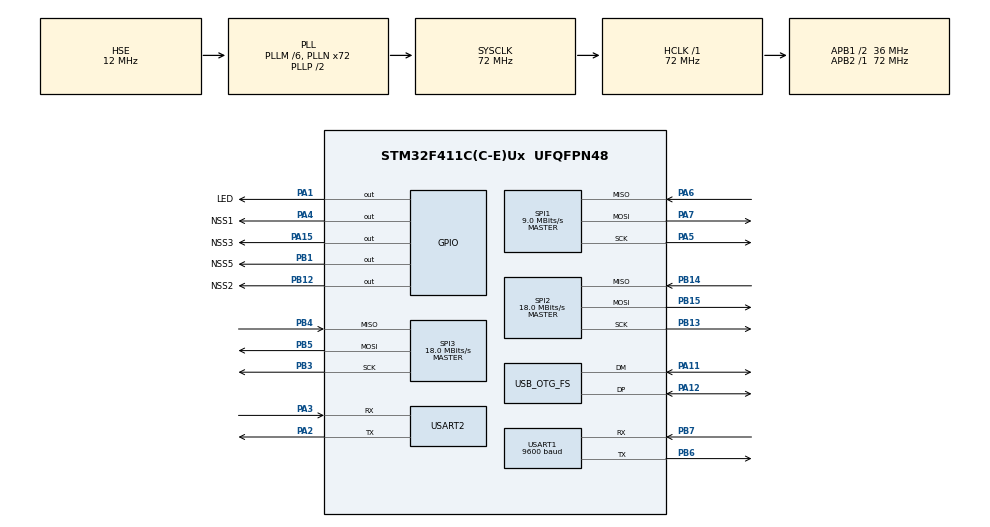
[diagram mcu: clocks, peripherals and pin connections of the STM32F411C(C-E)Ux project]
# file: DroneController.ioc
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Mcu.Family=STM32F4
Mcu.Name=STM32F411C(C-E)Ux
Mcu.Package=UFQFPN48
NVIC.OTG_FS_IRQn=true\:0\:0\:false\:false\:true\:false\:true\:true
NVIC.PriorityGroup=NVIC_PRIORITYGROUP_4
NVIC.USART1_IRQn=true\:0\:0\:false\:false\:true\:true\:true\:true
PA1.GPIO_Label=LED
PA1.Signal=GPIO_Output
PA11.Mode=Device_Only
PA11.Signal=USB_OTG_FS_DM
PA12.Mode=Device_Only
PA12.Signal=USB_OTG_FS_DP
PA13.Mode=Serial_Wire
PA13.Signal=SYS_JTMS-SWDIO
PA14.Mode=Serial_Wire
PA14.Signal=SYS_JTCK-SWCLK
PA15.GPIO_Label=NSS3
PA15.Signal=GPIO_Output
PA2.Mode=Asynchronous
PA2.Signal=USART2_TX
PA3.Mode=Asynchronous
PA3.Signal=USART2_RX
PA4.GPIO_Label=NSS1
PA4.Signal=GPIO_Output
PA5.Mode=Full_Duplex_Master
PA5.Signal=SPI1_SCK
PA6.Mode=Full_Duplex_Master
PA6.Signal=SPI1_MISO
PA7.Mode=Full_Duplex_Master
PA7.Signal=SPI1_MOSI
PB1.GPIO_Label=NSS5
PB1.Signal=GPIO_Output
PB12.GPIO_Label=NSS2
PB12.Signal=GPIO_Output
PB13.Mode=Full_Duplex_Master
PB13.Signal=SPI2_SCK
PB14.Mode=Full_Duplex_Master
PB14.Signal=SPI2_MISO
PB15.Mode=Full_Duplex_Master
PB15.Signal=SPI2_MOSI
PB3.Mode=Full_Duplex_Master
PB3.Signal=SPI3_SCK
PB4.Mode=Full_Duplex_Master
PB4.Signal=SPI3_MISO
PB5.Mode=Full_Duplex_Master
PB5.Signal=SPI3_MOSI
PB6.Mode=Asynchronous
PB6.Signal=USART1_TX
PB7.Mode=Asynchronous
PB7.Signal=USART1_RX
PH0\ -\ OSC_IN.Mode=HSE-External-Oscillator
PH0\ -\ OSC_IN.Signal=RCC_OSC_IN
PH1\ -\ OSC_OUT.Mode=HSE-External-Oscillator
PH1\ -\ OSC_OUT.Signal=RCC_OSC_OUT
ProjectManager.HeapSize=0x200
ProjectManager.StackSize=0x400
ProjectManager.TargetToolchain=STM32CubeIDE
RCC.48MHZClocksFreq_Value=48000000
RCC.AHBFreq_Value=72000000
RCC.APB1CLKDivider=RCC_HCLK_DIV2
RCC.APB1Freq_Value=36000000
RCC.APB1TimFreq_Value=72000000
RCC.APB2Freq_Value=72000000
RCC.APB2TimFreq_Value=72000000
RCC.CortexFreq_Value=72000000
RCC.HCLKFreq_Value=72000000
RCC.HSE_VALUE=12000000
RCC.HSI_VALUE=16000000
RCC.LSE_VALUE=32768
RCC.PLLM=6
RCC.PLLN=72
RCC.PLLQ=3
RCC.SYSCLKFreq_VALUE=72000000
RCC.SYSCLKSource=RCC_SYSCLKSOURCE_PLLCLK
RCC.VCOOutputFreq_Value=144000000
SPI1.BaudRatePrescaler=SPI_BAUDRATEPRESCALER_8
SPI1.CalculateBaudRate=9.0 MBits/s
SPI1.Direction=SPI_DIRECTION_2LINES
SPI1.Mode=SPI_MODE_MASTER
SPI1.VirtualType=VM_MASTER
SPI2.BaudRatePrescaler=SPI_BAUDRATEPRESCALER_2
SPI2.CalculateBaudRate=18.0 MBits/s
SPI2.Direction=SPI_DIRECTION_2LINES
SPI2.Mode=SPI_MODE_MASTER
SPI2.VirtualType=VM_MASTER
SPI3.BaudRatePrescaler=SPI_BAUDRATEPRESCALER_2
SPI3.CalculateBaudRate=18.0 MBits/s
SPI3.Direction=SPI_DIRECTION_2LINES
SPI3.Mode=SPI_MODE_MASTER
SPI3.VirtualType=VM_MASTER
USART1.BaudRate=9600
USART1.VirtualMode=VM_ASYNC
USART2.VirtualMode=VM_ASYNC
USB_DEVICE.CLASS_NAME_FS=CDC
USB_DEVICE.VirtualMode=Cdc
USB_DEVICE.VirtualModeFS=Cdc_FS
USB_OTG_FS.VirtualMode=Device_Only
VP_USB_DEVICE_VS_USB_DEVICE_CDC_FS.Mode=CDC_FS
board=custom

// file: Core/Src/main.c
/* USER CODE BEGIN Header */
/**
  ******************************************************************************
  * @file           : main.c
  * @brief          : Main program body
  ******************************************************************************
  */
/* USER CODE END Header */
#include "main.h"
#include "usb_device.h"

/* USER CODE BEGIN Includes */
#include "ICM-42605.h"
#include "BMP280.h"
#include "GPS.h"
#include <stdio.h>
#include <string.h>
#include <math.h>

#define SEA_LEVEL_PA     101325.0f

// Simple GPS test variables
volatile uint32_t uart_rx_count = 0;
volatile uint8_t last_byte = 0;

// --- IMU calibration settings ---
#define IMU_CAL_SAMPLES     512    // number of samples to average
#define IMU_CAL_SETTLE_MS   200    // small settle before sampling
#define EMA_ALPHA           0.12f  // optional smoothing (0..1). Lower = smoother

// Biases stored in RAW COUNTS (not m/s² or dps)
static float acc_bias_counts[3] = {0};
static float gyr_bias_counts[3] = {0};

// Optional EMA filtered values (in 'g' and dps)
static float ax_g_f=0, ay_g_f=0, az_g_f=0;
static float gx_dps_f=0, gy_dps_f=0, gz_dps_f=0;

/* USER CODE END Includes */

SPI_HandleTypeDef hspi1;
SPI_HandleTypeDef hspi2;
SPI_HandleTypeDef hspi3;

UART_HandleTypeDef huart1;
UART_HandleTypeDef huart2;

/* USER CODE BEGIN PV */
#define BMP280_CS_GPIO   GPIOA
#define BMP280_CS_PIN    NSS3_Pin

static BMP280_HandleTypeDef bmp;
/* USER CODE END PV */

void SystemClock_Config(void);
static void MX_GPIO_Init(void);
static void MX_SPI1_Init(void);
static void MX_SPI2_Init(void);
static void MX_SPI3_Init(void);
static void MX_USART2_UART_Init(void);
static void MX_USART1_UART_Init(void);
/* USER CODE BEGIN PFP */
static void BMP280_AppInit(void);
/* USER CODE END PFP */

/* USER CODE BEGIN 0 */
static void IMU_Calibrate(void)
{
    // Hold the board still, Z+ pointing up
    HAL_Delay(IMU_CAL_SETTLE_MS);

    int64_t sax = 0, say = 0, saz = 0;
    int64_t sgx = 0, sgy = 0, sgz = 0;
    int16_t a[3], g[3];

    for (int i = 0; i < IMU_CAL_SAMPLES; i++) {
        if (icm42605_read_accel(a) == HAL_OK) {
            sax += a[0]; say += a[1]; saz += a[2];
        }
        if (icm42605_read_gyro(g) == HAL_OK) {
            sgx += g[0]; sgy += g[1]; sgz += g[2];
        }
        HAL_Delay(2); // ~500 Hz sampling during calibration
    }

    const float invN = 1.0f / (float)IMU_CAL_SAMPLES;
    const float mean_ax = (float)sax * invN;
    const float mean_ay = (float)say * invN;
    const float mean_az = (float)saz * invN;
    const float mean_gx = (float)sgx * invN;
    const float mean_gy = (float)sgy * invN;
    const float mean_gz = (float)sgz * invN;

    // Accel biases in COUNTS: zero X/Y; make Z read exactly +1g at rest
    acc_bias_counts[0] = mean_ax;
    acc_bias_counts[1] = mean_ay;
    acc_bias_counts[2] = mean_az - ACCEL_LSB_PER_G;  // assumes Z+ up

    // Gyro biases in COUNTS (should be near 0 at rest)
    gyr_bias_counts[0] = mean_gx;
    gyr_bias_counts[1] = mean_gy;
    gyr_bias_counts[2] = mean_gz;

    // Prime EMAs with first values post-cal
    ax_g_f = 0.0f; ay_g_f = 0.0f; az_g_f = 1.0f;
    gx_dps_f = gy_dps_f = gz_dps_f = 0.0f;
}

/* USER CODE END 0 */

/* USER CODE END 0 */

int main(void)
{

  /* MCU Configuration--------------------------------------------------------*/

  /* Reset of all peripherals, Initializes the Flash interface and the Systick. */
  HAL_Init();

  /* Configure the system clock */
  SystemClock_Config();

  /* Initialize all configured peripherals */
  MX_GPIO_Init();
  MX_SPI1_Init();
  MX_SPI2_Init();
  MX_SPI3_Init();
  MX_USART2_UART_Init();
  MX_USB_DEVICE_Init();
  MX_USART1_UART_Init();
  /* USER CODE BEGIN 2 */

  printf("Starting GPS and sensor test\r\n");
  // Initialize GPS module
    if (GPS_Init() == HAL_OK) {
        printf("GPS module initialized successfully\r\n");
    } else {
        printf("GPS module initialization failed\r\n");
    }
  // Make sure BMP280 CS idles HIGH before first SPI transaction
  HAL_GPIO_WritePin(BMP280_CS_GPIO, BMP280_CS_PIN, GPIO_PIN_SET);

  // Initialize/configure BMP280
  BMP280_AppInit();

  printf("USB CDC up!\n");

  uint8_t id[3];
  if (W25_ReadJEDEC(id) == HAL_OK){
     printf("JEDEC: %02X %02X %02X\r\n", id[0], id[1], id[2]);
     HAL_GPIO_TogglePin (GPIOA, LED_Pin);
     HAL_Delay(1000);
     HAL_GPIO_TogglePin (GPIOA, LED_Pin);
    } else {
     printf("JEDEC read failed\r\n");
    }

  uint8_t whoami;
  HAL_StatusTypeDef whoami_test;

  whoami_test = icm42605_read_reg(0,0x75, &whoami);
  if (whoami_test == HAL_OK) {
      if (whoami == 0x42) {
          printf("Confirmed ICM WHOAMI: 0x%02X\r\n", whoami);
          HAL_Delay(500);
          HAL_GPIO_TogglePin(GPIOA, LED_Pin);
          HAL_Delay(1000);
          HAL_GPIO_TogglePin(GPIOA, LED_Pin);
      } else {
          printf("ICM WHOAMI mismatch: got 0x%02X (expected 0x42)\r\n", whoami);
      }
  } else {
      printf("Failed to read WHOAMI register (status: %d)\r\n", whoami_test);
  }

  // Reset chip
  icm42605_reset();

  // Configure accelerometer and gyro
  icm42605_config_accel(ACCEL_FS_2G, ACCEL_ODR_1KHZ);
  icm42605_config_gyro(GYRO_FS_2000DPS, GYRO_ODR_1KHZ);
  /* USER CODE END 2 */

  /* Infinite loop */
  /* USER CODE BEGIN WHILE */
  printf("Calibrating IMU... keep board still for ~1s\r\n");
  IMU_Calibrate();
  printf("Accel bias (cts): [%.1f, %.1f, %.1f], Gyro bias (cts): [%.1f, %.1f, %.1f]\r\n",
         acc_bias_counts[0], acc_bias_counts[1], acc_bias_counts[2],
         gyr_bias_counts[0], gyr_bias_counts[1], gyr_bias_counts[2]);
  int16_t accel[3];
  int16_t gyro[3];

  float ax_ms2, ay_ms2, az_ms2;
  float gx_dps, gy_dps, gz_dps;
  float pitch_deg, roll_deg;

  uint32_t next_bmp = HAL_GetTick();   // 5 Hz BMP280
  uint32_t next_gps = HAL_GetTick();   // 1 Hz GPS

  printf("Enter while(1)\r\n");
  extern void sx1276_min_demo(void);
  sx1276_min_demo();

  while (1)
   {

	  // Add this code to your main while loop for GPS simulation
	  // GPS Simulation (1 Hz) - replace your existing GPS processing section
	  if ((int32_t)(HAL_GetTick() - next_gps) >= 0) {
	      next_gps += 1000;

	      // Simulate GPS fix data with realistic changing values
	      static float sim_lat = 43.6532;      // Starting latitude (Toronto, Ontario)
	      static float sim_lon = -79.3832;     // Starting longitude (Toronto, Ontario)
	      static float sim_alt = 10.0;         // Starting altitude in meters
	      static float sim_speed = 0.0;        // Starting speed in knots
	      static float sim_course = 0.0;       // Starting course in degrees
	      static uint8_t sim_sats = 8;         // Number of satellites
	      static uint32_t sim_time_s = 0;      // Elapsed seconds for time simulation
	      static bool gps_fixed = false;
	      static uint32_t startup_counter = 0;

	      startup_counter++;

	      // Simulate GPS startup sequence (takes ~10 seconds to get fix)
	      if (startup_counter < 10) {
	          printf("[GPS] Searching for satellites... (%d/4 satellites)\r\n", startup_counter / 3);
	      } else if (!gps_fixed) {
	          gps_fixed = true;
	          printf("[GPS] GPS Fix acquired! Starting navigation...\r\n");
	      } else {
	          // Simulate realistic GPS movement and variations
	          sim_time_s++;

	          // Simulate slow movement (walking pace)
	          static float movement_angle = 0.0;
	          movement_angle += 0.05f;  // Slow rotation

	          // Add small realistic variations to position (GPS drift simulation)
	          sim_lat += (sinf(movement_angle * 0.1f) * 0.000005f);  // ~0.5m variation
	          sim_lon += (cosf(movement_angle * 0.1f) * 0.000005f);  // ~0.5m variation

	          // Simulate altitude changes (small variations)
	          sim_alt += sinf(movement_angle * 0.02f) * 0.5f + (rand() % 20 - 10) * 0.1f;
	          if (sim_alt < 0) sim_alt = 0;

	          // Simulate speed (walking/stationary with variations)
	          sim_speed = 0.5f + sinf(movement_angle * 0.3f) * 0.3f + (rand() % 10) * 0.05f;
	          if (sim_speed < 0) sim_speed = 0;

	          // Simulate course changes
	          sim_course = fmodf(sim_course + (rand() % 10 - 5) * 2.0f, 360.0f);
	          if (sim_course < 0) sim_course += 360.0f;

	          // Simulate satellite count variations (7-12 satellites)
	          if (sim_time_s % 10 == 0) {
	              sim_sats = 7 + (rand() % 6);
	          }

	          // Calculate time (simulate UTC time)
	          uint8_t hours = (sim_time_s / 3600) % 24;
	          uint8_t minutes = (sim_time_s / 60) % 60;
	          uint8_t seconds = sim_time_s % 60;

	          // Simulate date (fixed date for demo)
	          uint8_t day = 7;
	          uint8_t month = 9;
	          uint16_t year = 2025;

	          // Display GPS information
	          printf("[GPS] Lat: %.6f° Lon: %.6f°\r\n", sim_lat, sim_lon);
	          printf("[GPS] Satellites: %d Quality: DGPS\r\n", sim_sats);

	          // Simulate some raw NMEA-like output every few seconds
	          if (sim_time_s % 5 == 0) {
	              printf("[GPS RAW] $GPRMC,%02d%02d%02d.00,A,%.4f,N,%.4f,W,%.1f,%.1f,%02d%02d%02d,,,A*XX\r\n",
	                     hours, minutes, seconds,
	                     sim_lat, -sim_lon, sim_speed, sim_course,
	                     day, month, year % 100);
	          }

	          // Simulate HDOP and signal quality variations
	          if (sim_time_s % 3 == 0) {
	              float hdop = 1.0f + (rand() % 50) * 0.02f; // HDOP between 1.0-2.0
	              printf("[GPS] HDOP: %.2f Signal Quality: %s\r\n",
	                     hdop, (hdop < 1.5f) ? "Excellent" : (hdop < 2.0f) ? "Good" : "Fair");
	          }

	          // Simulate antenna status occasionally
	          if (sim_time_s % 15 == 0) {
	              printf("[GPS] Antenna Status: OK (Internal patch antenna)\r\n");
	          }
	      }

	      // Debug counter for simulation
	      static uint32_t debug_counter = 0;
	      debug_counter++;
	      if (debug_counter >= 30) {  // Every 30 seconds
	          debug_counter = 0;
	          printf("[GPS DEBUG] Simulation running for %lu seconds\r\n", sim_time_s);
	          printf("[GPS DEBUG] Position accuracy: ±3m, Time accuracy: ±50ms\r\n");
	      }
	  }

    // --- Read and convert accelerometer ---
     // --- Read raw accel/gyro ---
     if (icm42605_read_accel(accel) == HAL_OK) {
         // Bias-correct in COUNTS
         const float ax_c = (float)accel[0] - acc_bias_counts[0];
         const float ay_c = (float)accel[1] - acc_bias_counts[1];
         const float az_c = (float)accel[2] - acc_bias_counts[2];

         // Convert to g and m/s²
         float ax_g = ax_c / ACCEL_LSB_PER_G;
         float ay_g = ay_c / ACCEL_LSB_PER_G;
         float az_g = az_c / ACCEL_LSB_PER_G;

         // Optional smoothing for prettier printing
         ax_g_f = EMA_ALPHA*ax_g + (1.0f-EMA_ALPHA)*ax_g_f;
         ay_g_f = EMA_ALPHA*ay_g + (1.0f-EMA_ALPHA)*ay_g_f;
         az_g_f = EMA_ALPHA*az_g + (1.0f-EMA_ALPHA)*az_g_f;

         ax_ms2 = ax_g_f * G_IN_MS2;
         ay_ms2 = ay_g_f * G_IN_MS2;
         az_ms2 = az_g_f * G_IN_MS2;
     }

     if (icm42605_read_gyro(gyro) == HAL_OK) {
         // Bias-correct in COUNTS, then convert to dps
         const float gx_c = (float)gyro[0] - gyr_bias_counts[0];
         const float gy_c = (float)gyro[1] - gyr_bias_counts[1];
         const float gz_c = (float)gyro[2] - gyr_bias_counts[2];

         const float gx_dps_raw = gx_c / GYRO_LSB_PER_DPS;
         const float gy_dps_raw = gy_c / GYRO_LSB_PER_DPS;
         const float gz_dps_raw = gz_c / GYRO_LSB_PER_DPS;

         // Optional smoothing
         gx_dps_f = EMA_ALPHA*gx_dps_raw + (1.0f-EMA_ALPHA)*gx_dps_f;
         gy_dps_f = EMA_ALPHA*gy_dps_raw + (1.0f-EMA_ALPHA)*gy_dps_f;
         gz_dps_f = EMA_ALPHA*gz_dps_raw + (1.0f-EMA_ALPHA)*gz_dps_f;

         gx_dps = gx_dps_f; gy_dps = gy_dps_f; gz_dps = gz_dps_f;
     }

     // --- Angles from corrected accel (in g) ---
     float ax_g_use = ax_ms2 / G_IN_MS2;
     float ay_g_use = ay_ms2 / G_IN_MS2;
     float az_g_use = az_ms2 / G_IN_MS2;

     pitch_deg = atan2f(-ax_g_use, sqrtf(ay_g_use*ay_g_use + az_g_use*az_g_use)) * (180.0f / M_PI);
     roll_deg  = atan2f( ay_g_use, az_g_use ) * (180.0f / M_PI);

     // Print
     printf("[IMU: Accel] (m/s²): X=%.2f Y=%.2f Z=%.2f\r\n", ax_ms2, ay_ms2, az_ms2);
     printf("[IMU: Gyro]  (°/s):  X=%.2f Y=%.2f Z=%.2f\r\n", gx_dps, gy_dps, gz_dps);
     printf("[IMU: Angles] (deg):  Pitch=%.2f Roll=%.2f\r\n",  pitch_deg, roll_deg);

    HAL_GPIO_TogglePin(GPIOA, LED_Pin);
    HAL_Delay(100); // ~1 Hz refresh for readability

    // --- BMP280 read (5 Hz) ---
    if ((int32_t)(HAL_GetTick() - next_bmp) >= 0) {
        next_bmp += 200;

        float t_c, p_pa;
        if (bmp280_read_temp_press(&bmp, &t_c, &p_pa) == HAL_OK) {
            float alt_m = bmp280_altitude_m_from_pa(p_pa, SEA_LEVEL_PA);
            printf("[BMP280] T=%.2f C  P=%.1f Pa  Alt=%.1f m\r\n", t_c, p_pa, alt_m);
        }
    }
  }
    /* USER CODE END WHILE */

}

void SystemClock_Config(void)
{
  RCC_OscInitTypeDef RCC_OscInitStruct = {0};
  RCC_ClkInitTypeDef RCC_ClkInitStruct = {0};

  /** Configure the main internal regulator output voltage
  */
  __HAL_RCC_PWR_CLK_ENABLE();
  __HAL_PWR_VOLTAGESCALING_CONFIG(PWR_REGULATOR_VOLTAGE_SCALE1);

  /** Initializes the RCC Oscillators according to the specified parameters
  * in the RCC_OscInitTypeDef structure.
  */
  RCC_OscInitStruct.OscillatorType = RCC_OSCILLATORTYPE_HSE;
  RCC_OscInitStruct.HSEState = RCC_HSE_ON;
  RCC_OscInitStruct.PLL.PLLState = RCC_PLL_ON;
  RCC_OscInitStruct.PLL.PLLSource = RCC_PLLSOURCE_HSE;
  RCC_OscInitStruct.PLL.PLLM = 6;
  RCC_OscInitStruct.PLL.PLLN = 72;
  RCC_OscInitStruct.PLL.PLLP = RCC_PLLP_DIV2;
  RCC_OscInitStruct.PLL.PLLQ = 3;
  if (HAL_RCC_OscConfig(&RCC_OscInitStruct) != HAL_OK)
  {
    Error_Handler();
  }

  /** Initializes the CPU, AHB and APB buses clocks
  */
  RCC_ClkInitStruct.ClockType = RCC_CLOCKTYPE_HCLK|RCC_CLOCKTYPE_SYSCLK
                              |RCC_CLOCKTYPE_PCLK1|RCC_CLOCKTYPE_PCLK2;
  RCC_ClkInitStruct.SYSCLKSource = RCC_SYSCLKSOURCE_PLLCLK;
  RCC_ClkInitStruct.AHBCLKDivider = RCC_SYSCLK_DIV1;
  RCC_ClkInitStruct.APB1CLKDivider = RCC_HCLK_DIV2;
  RCC_ClkInitStruct.APB2CLKDivider = RCC_HCLK_DIV1;

  if (HAL_RCC_ClockConfig(&RCC_ClkInitStruct, FLASH_LATENCY_2) != HAL_OK)
  {
    Error_Handler();
  }
}

static void MX_SPI1_Init(void)
{

  /* SPI1 parameter configuration*/
  hspi1.Instance = SPI1;
  hspi1.Init.Mode = SPI_MODE_MASTER;
  hspi1.Init.Direction = SPI_DIRECTION_2LINES;
  hspi1.Init.DataSize = SPI_DATASIZE_8BIT;
  hspi1.Init.CLKPolarity = SPI_POLARITY_LOW;
  hspi1.Init.CLKPhase = SPI_PHASE_1EDGE;
  hspi1.Init.NSS = SPI_NSS_SOFT;
  hspi1.Init.BaudRatePrescaler = SPI_BAUDRATEPRESCALER_8;
  hspi1.Init.FirstBit = SPI_FIRSTBIT_MSB;
  hspi1.Init.TIMode = SPI_TIMODE_DISABLE;
  hspi1.Init.CRCCalculation = SPI_CRCCALCULATION_DISABLE;
  hspi1.Init.CRCPolynomial = 10;
  if (HAL_SPI_Init(&hspi1) != HAL_OK)
  {
    Error_Handler();
  }

}

static void MX_SPI2_Init(void)
{

  /* SPI2 parameter configuration*/
  hspi2.Instance = SPI2;
  hspi2.Init.Mode = SPI_MODE_MASTER;
  hspi2.Init.Direction = SPI_DIRECTION_2LINES;
  hspi2.Init.DataSize = SPI_DATASIZE_8BIT;
  hspi2.Init.CLKPolarity = SPI_POLARITY_LOW;
  hspi2.Init.CLKPhase = SPI_PHASE_1EDGE;
  hspi2.Init.NSS = SPI_NSS_SOFT;
  hspi2.Init.BaudRatePrescaler = SPI_BAUDRATEPRESCALER_2;
  hspi2.Init.FirstBit = SPI_FIRSTBIT_MSB;
  hspi2.Init.TIMode = SPI_TIMODE_DISABLE;
  hspi2.Init.CRCCalculation = SPI_CRCCALCULATION_DISABLE;
  hspi2.Init.CRCPolynomial = 10;
  if (HAL_SPI_Init(&hspi2) != HAL_OK)
  {
    Error_Handler();
  }

}

static void MX_SPI3_Init(void)
{

  /* SPI3 parameter configuration*/
  hspi3.Instance = SPI3;
  hspi3.Init.Mode = SPI_MODE_MASTER;
  hspi3.Init.Direction = SPI_DIRECTION_2LINES;
  hspi3.Init.DataSize = SPI_DATASIZE_8BIT;
  hspi3.Init.CLKPolarity = SPI_POLARITY_LOW;
  hspi3.Init.CLKPhase = SPI_PHASE_1EDGE;
  hspi3.Init.NSS = SPI_NSS_SOFT;
  hspi3.Init.BaudRatePrescaler = SPI_BAUDRATEPRESCALER_2;
  hspi3.Init.FirstBit = SPI_FIRSTBIT_MSB;
  hspi3.Init.TIMode = SPI_TIMODE_DISABLE;
  hspi3.Init.CRCCalculation = SPI_CRCCALCULATION_DISABLE;
  hspi3.Init.CRCPolynomial = 10;
  if (HAL_SPI_Init(&hspi3) != HAL_OK)
  {
    Error_Handler();
  }

}

static void MX_USART1_UART_Init(void)
{

  huart1.Instance = USART1;
  huart1.Init.BaudRate = 9600;
  huart1.Init.WordLength = UART_WORDLENGTH_8B;
  huart1.Init.StopBits = UART_STOPBITS_1;
  huart1.Init.Parity = UART_PARITY_NONE;
  huart1.Init.Mode = UART_MODE_TX_RX;
  huart1.Init.HwFlowCtl = UART_HWCONTROL_NONE;
  huart1.Init.OverSampling = UART_OVERSAMPLING_16;
  if (HAL_UART_Init(&huart1) != HAL_OK)
  {
    Error_Handler();
  }

}

static void MX_USART2_UART_Init(void)
{

  huart2.Instance = USART2;
  huart2.Init.BaudRate = 115200;
  huart2.Init.WordLength = UART_WORDLENGTH_8B;
  huart2.Init.StopBits = UART_STOPBITS_1;
  huart2.Init.Parity = UART_PARITY_NONE;
  huart2.Init.Mode = UART_MODE_TX_RX;
  huart2.Init.HwFlowCtl = UART_HWCONTROL_NONE;
  huart2.Init.OverSampling = UART_OVERSAMPLING_16;
  if (HAL_UART_Init(&huart2) != HAL_OK)
  {
    Error_Handler();
  }

}

static void MX_GPIO_Init(void)
{
  GPIO_InitTypeDef GPIO_InitStruct = {0};

  /* GPIO Ports Clock Enable */
  __HAL_RCC_GPIOH_CLK_ENABLE();
  __HAL_RCC_GPIOA_CLK_ENABLE();
  __HAL_RCC_GPIOB_CLK_ENABLE();

  /*Configure GPIO pin Output Level */
  HAL_GPIO_WritePin(GPIOA, LED_Pin, GPIO_PIN_RESET);

  /*Configure GPIO pin Output Level */
  HAL_GPIO_WritePin(GPIOB, NSS5_Pin|NSS2_Pin, GPIO_PIN_RESET);

  /*Configure GPIO pins : LED_Pin NSS1_Pin NSS3_Pin */
  GPIO_InitStruct.Pin = LED_Pin|NSS1_Pin|NSS3_Pin;
  GPIO_InitStruct.Mode = GPIO_MODE_OUTPUT_PP;
  GPIO_InitStruct.Pull = GPIO_NOPULL;
  GPIO_InitStruct.Speed = GPIO_SPEED_FREQ_LOW;
  HAL_GPIO_Init(GPIOA, &GPIO_InitStruct);

  /*Configure GPIO pins : NSS5_Pin NSS2_Pin */
  GPIO_InitStruct.Pin = NSS5_Pin|NSS2_Pin;
  GPIO_InitStruct.Mode = GPIO_MODE_OUTPUT_PP;
  GPIO_InitStruct.Pull = GPIO_NOPULL;
  GPIO_InitStruct.Speed = GPIO_SPEED_FREQ_LOW;
  HAL_GPIO_Init(GPIOB, &GPIO_InitStruct);

  /* USER CODE BEGIN MX_GPIO_Init_2 */
  HAL_GPIO_WritePin(GPIOA, NSS1_Pin|NSS3_Pin, GPIO_PIN_SET);
  HAL_GPIO_WritePin(GPIOB, NSS5_Pin|NSS2_Pin, GPIO_PIN_SET);
  /* USER CODE END MX_GPIO_Init_2 */
}

/* USER CODE BEGIN 4 */
static void BMP280_AppInit(void)
{
    if (bmp280_init_spi(&bmp, &hspi3, BMP280_CS_GPIO, BMP280_CS_PIN) != HAL_OK) {
        Error_Handler();
    }
    // Write CONFIG while device is in sleep (after reset)
    bmp280_set_config(&bmp, BMP280_TSB_125_MS, BMP280_FILTER_4, false);
    // Start continuous conversions
    bmp280_set_ctrl_meas(&bmp, BMP280_OSRS_X1, BMP280_OSRS_X4, BMP280_MODE_NORMAL);

    // Sanity read
    float t, p;
    if (bmp280_read_temp_press(&bmp, &t, &p) == HAL_OK) {
        float alt = bmp280_altitude_m_from_pa(p, SEA_LEVEL_PA);
        (void)alt;
    }
}
/* USER CODE END 4 */

void Error_Handler(void)
{
  __disable_irq();
  while (1)
  {
  }
}
